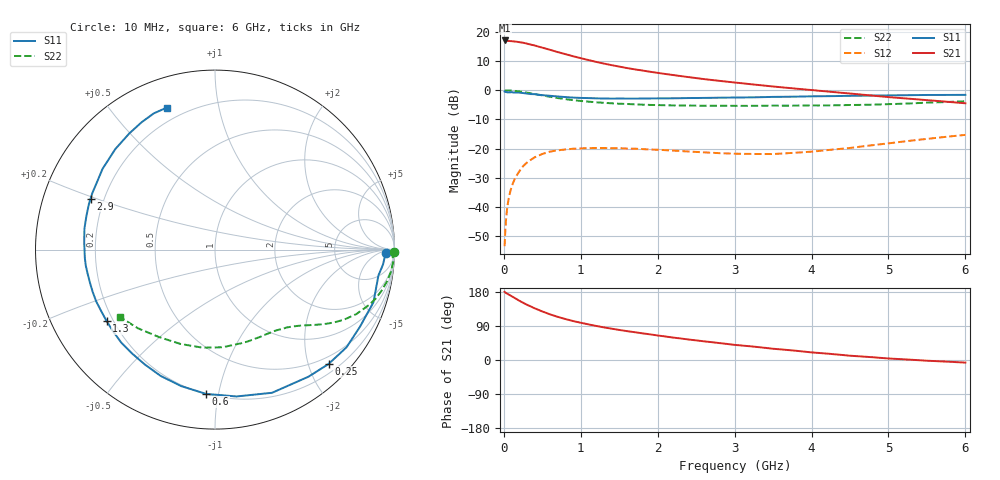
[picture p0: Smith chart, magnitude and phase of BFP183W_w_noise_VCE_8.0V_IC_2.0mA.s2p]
! Infineon Technologies  Discrete & RF Semiconductors
! BFP183W
! VCE =  8.0 V,  IC =  2.0 mA
! Common Emitter S-Parameters:  Jan 2017
# GHz  S  MA  R  50
!  f  S11  S21  S12  S22
! GHz  MAG  ANG  MAG  ANG  MAG  ANG  MAG  ANG
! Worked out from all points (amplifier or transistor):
!   77 points, 10 MHz to 6 GHz, reference 50 ohm
!   highest |S21| = 17.1 dB at 10 MHz (marker M1)
!   |S21| within 3 dB of that: start of sweep to 571.8 MHz
!   unconditionally stable (mu >= 1): 2.824 GHz to 4.725 GHz
!   at 130 MHz: K = 0.04, MSG = 24.0 dB, |S12| = -31.2 dB
!   at 2.2 GHz: K = 0.77, MSG = 13.0 dB, |S12| = -20.7 dB
!   at 6 GHz: K = 0.76, MSG = 5.4 dB, |S12| = -15.3 dB
!   lowest NFmin = 0.76 dB at 450 MHz
!   S11 on the Smith chart (normalised r, x): 10 MHz: 35, -13; 250 MHz: 0.36, -2.36; 600 MHz: 0.20, -0.92; 1.3 GHz: 0.17, -0.29; 2.9 GHz: 0.15, +0.19; 6 GHz: 0.14, +0.71
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0.01  0.9512 -1.1  7.19 180.0  0.0021 91.9  1 -0.8
0.02  0.9396 -5.1  7.19 177.8  0.0041 94.4  0.9874 -1.5
0.03  0.9332 -6.4  7.151 176.7  0.0063 88.9  0.9901 -2.2
0.07  0.9223 -12.8  7.036 172.1  0.0153 82.5  0.9925 -5.0
0.15  0.9149 -28.0  6.884 162.6  0.0316 74.7  0.9737 -10.6
0.25  0.898 -45.2  6.567 151.1  0.0498 65.3  0.9365 -16.9
0.3  0.8792 -53.6  6.34 145.8  0.0573 60.1  0.9129 -19.7
0.4  0.8587 -68.3  5.903 136.4  0.0706 52.6  0.8646 -24.6
0.5  0.8269 -81.7  5.41 128.1  0.0805 45.5  0.818 -28.5
0.6  0.8053 -93.6  4.97 120.5  0.0884 39.7  0.7744 -31.7
0.7  0.7834 -104.0  4.542 113.9  0.093 35.0  0.7363 -34.3
0.8  0.7661 -113.3  4.187 108.1  0.0963 31.2  0.7054 -36.4
0.9  0.7501 -121.4  3.85 102.8  0.0992 27.6  0.6787 -38.3
1.1  0.7356 -135.3  3.311 94.0  0.1017 22.2  0.6389 -41.5
1.3  0.7232 -146.7  2.882 86.1  0.102 17.7  0.6101 -44.6
1.6  0.7211 -160.9  2.414 76.2  0.1 14.1  0.5824 -49.0
2.1  0.727 -179.8  1.91 62.1  0.0937 11.5  0.554 -57.3
2.9  0.749 157.7  1.408 42.4  0.0824 16.4  0.5421 -72.8
3.1  0.7539 153.1  1.32 38.1  0.0811 19.6  0.5409 -77.0
4.1  0.7907 133.0  0.983 18.5  0.091 38.4  0.5503 -99.8
5.1  0.8212 118.7  0.747 2.9  0.1273 47.3  0.5837 -125.2
6  0.8356 108.7  0.599 -6.9  0.1715 45.7  0.649 -144.7
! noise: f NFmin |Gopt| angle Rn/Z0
0.45  0.76  0.48  45  0.22
0.9  0.95  0.41  86  0.19
1.9  1.77  0.52  156  0.09
2.4  2.08  0.55  173  0.09
